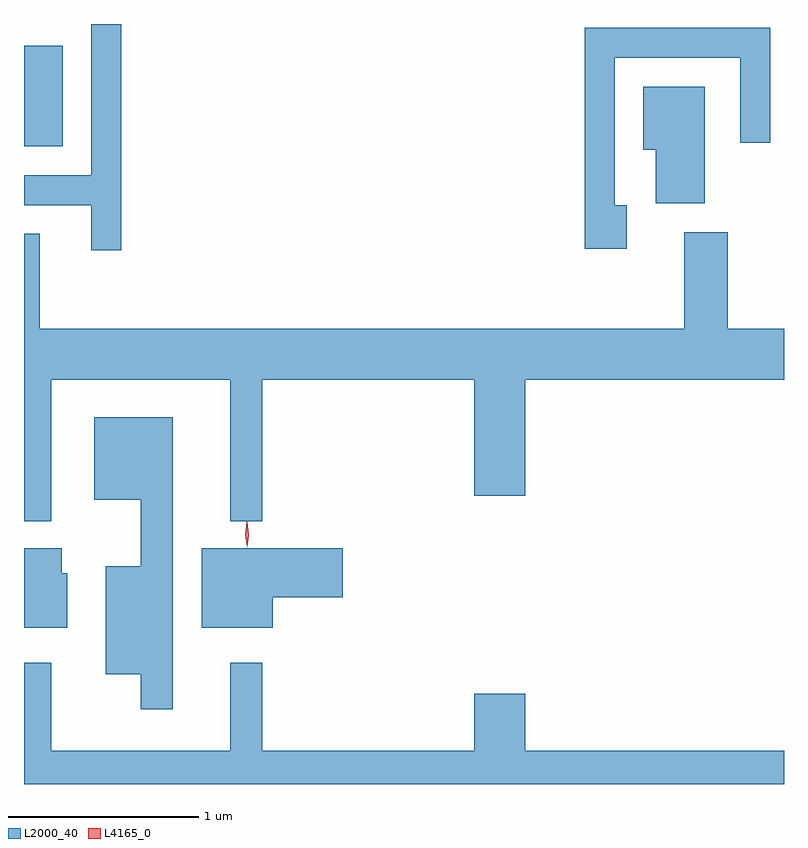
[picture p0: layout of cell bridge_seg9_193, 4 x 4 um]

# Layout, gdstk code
import gdstk
lib = gdstk.Library(unit=1e-6, precision=1e-09)
def R(c, l, rs):  # rectangles x0, y0, x1, y1
    for r in rs: c.add(gdstk.rectangle(r[:2], r[2:], *l))
def P(c, l, *ps):  # polygons
    for p in ps: c.add(gdstk.Polygon(p, *l))
L2000_40 = (2000, 40)
L4165_0 = (4165, 0)

bridge_seg9_193 = lib.new_cell('bridge_seg9_193')
R(bridge_seg9_193, L2000_40, [(1091.826,2008.586,1092.029,2009.114)])
P(bridge_seg9_193, L2000_40, [(1092.339,2009.229),(1092.181,2009.229),(1092.181,2008.434),(1091.826,2008.434),(1091.826,2008.276),(1092.181,2008.276),(1092.181,2008.038),(1092.339,2008.038)],
  [(1094.999,2008.274),(1094.934,2008.274),(1094.934,2009.051),(1095.596,2009.051),(1095.596,2008.603),(1095.754,2008.603),(1095.754,2009.209),(1094.776,2009.209),(1094.776,2008.046),(1094.999,2008.046)],
  [(1095.409,2008.899),(1095.086,2008.899),(1095.086,2008.566),(1095.151,2008.566),(1095.151,2008.286),(1095.409,2008.286)],
  [(1091.969,2007.356),(1092.911,2007.356),(1092.911,2006.613),(1093.079,2006.613),(1093.079,2007.356),(1094.196,2007.356),(1094.196,2006.746),(1094.464,2006.746),(1094.464,2007.356),(1095.826,2007.356),(1095.826,2007.624),(1095.529,2007.624),(1095.529,2008.134),(1095.301,2008.134),(1095.301,2007.624),(1091.909,2007.624),(1091.909,2008.124),(1091.826,2008.124),(1091.826,2006.613),(1091.969,2006.613)],
  [(1092.609,2007.159),(1092.196,2007.159),(1092.196,2006.726),(1092.441,2006.726),(1092.441,2006.374),(1092.256,2006.374),(1092.256,2005.806),(1092.441,2005.806),(1092.441,2005.623),(1092.609,2005.623)],
  [(1092.054,2006.339),(1092.024,2006.339),(1092.024,2006.469),(1091.826,2006.469),(1091.826,2006.051),(1092.054,2006.051)],
  [(1093.134,2006.211),(1093.504,2006.211),(1093.504,2006.469),(1092.761,2006.469),(1092.761,2006.051),(1093.134,2006.051)],
  [(1095.826,2005.404),(1094.464,2005.404),(1094.464,2005.704),(1094.196,2005.704),(1094.196,2005.404),(1093.079,2005.404),(1093.079,2005.868),(1092.911,2005.868),(1092.911,2005.404),(1091.969,2005.404),(1091.969,2005.868),(1091.826,2005.868),(1091.826,2005.229),(1095.826,2005.229)])
P(bridge_seg9_193, L4165_0, [(1093,2006.474),(1093,2006.474),(1092.99,2006.542),(1092.999,2006.61),(1093,2006.61),(1093,2006.61),(1093.01,2006.542),(1093.001,2006.474)],
  [(1093,2006.48),(1093,2006.48),(1092.99,2006.543),(1092.999,2006.606),(1093,2006.607),(1093,2006.606),(1093.01,2006.543),(1093,2006.48)])

lib.write_gds('bridge_seg9_193.gds')
